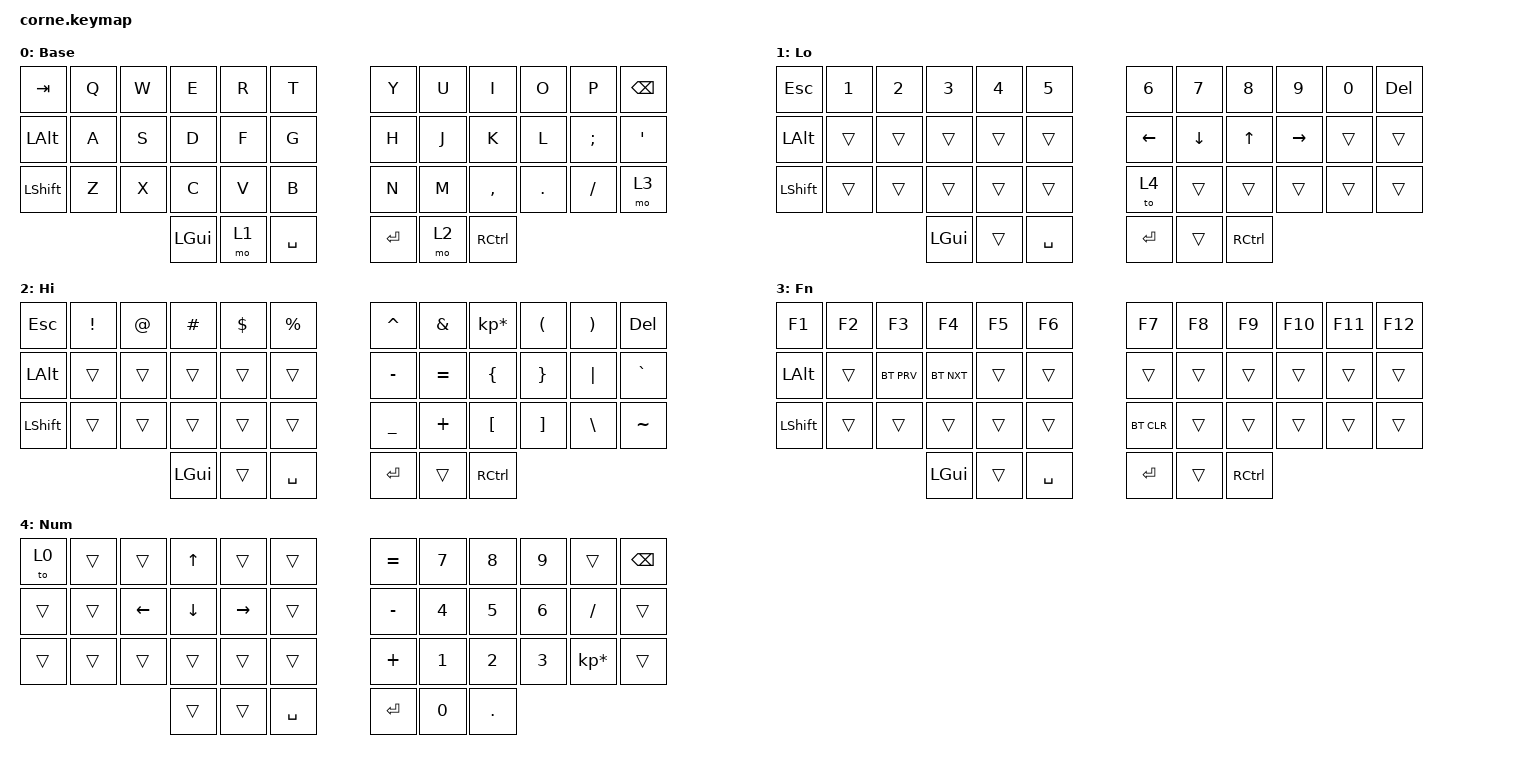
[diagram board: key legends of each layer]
/*
 * Copyright (c) 2020 The ZMK Contributors
 *
 * SPDX-License-Identifier: MIT
 */

#include <behaviors.dtsi>
#include <dt-bindings/zmk/keys.h>
#include <dt-bindings/zmk/bt.h>

/ {
    macros {
    };

    keymap {
        compatible = "zmk,keymap";

        base_layer {
            // -----------------------------------------------------------------------------------------
            // |  TAB |  Q  |  W  |  E  |  R  |  T  |   |  Y  |  U  |  I  |  O  |  P  | BKSP |
            // |  OPT |  A  |  S  |  D  |  F  |  G  |   |  H  |  J  |  K  |  L  |  ;  |  '   |
            // | SHFT |  Z  |  X  |  C  |  V  |  B  |   |  N  |  M  |  ,  |  .  |  /  | FUNC |
            //                    | CMD | LWR | SPC |   | ENT | RSE | CTRL |

            label = "Base";
            bindings = <
     &kp TAB  &kp Q  &kp W     &kp E  &kp R      &kp T      &kp Y    &kp U  &kp I      &kp O    &kp P     &kp BSPC
&kp LEFT_ALT  &kp A  &kp S     &kp D  &kp F      &kp G      &kp H    &kp J  &kp K      &kp L    &kp SEMI  &kp APOS
   &kp LSHFT  &kp Z  &kp X     &kp C  &kp V      &kp B      &kp N    &kp M  &kp COMMA  &kp DOT  &kp FSLH  &mo 3
                            &kp LGUI  &mo 1  &kp SPACE      &kp RET  &mo 2  &kp RCTRL
            >;
        };

        lower_layer {
            // -----------------------------------------------------------------------------------------
            // |  ESC |  1  |  2  |  3  |  4  |  5  |   |   6   |  7  |  8   |  9  |  0  | DEL |
            // |  OPT |     |     |     |     |     |   |  LFT  | DWN |  UP  | RGT |     |     |
            // | SHFT |     |     |     |     |     |   | NUMPD |     |      |     |     |     |
            //                    | CMD |     | SPC |   |  ENT  |     | CTRL |

            label = "Lo";
            bindings = <
     &kp ESC  &kp N1  &kp N2    &kp N3  &kp N4     &kp N5      &kp N6    &kp N7    &kp N8     &kp N9     &kp N0  &kp DEL
&kp LEFT_ALT  &trans  &trans    &trans  &trans     &trans      &kp LEFT  &kp DOWN  &kp UP     &kp RIGHT  &trans  &trans
   &kp LSHFT  &trans  &trans    &trans  &trans     &trans      &to 4     &trans    &trans     &trans     &trans  &trans
                              &kp LGUI  &trans  &kp SPACE      &kp RET   &trans    &kp RCTRL
            >;
        };

        raise_layer {
            // -----------------------------------------------------------------------------------------
            // |  ESC |  !  |  @  |  #  |  $  |  %  |   |  ^  |  &  |  *   |  (  |  )  | DEL |
            // |  OPT |     |     |     |     |     |   |  -  |  =  |  {   |  }  | "|" |  `  |
            // | SHFT |     |     |     |     |     |   |  _  |  +  |  [   |  ]  |  \  |  ~  |
            //                    | CMD |     | SPC |   | ENT |     | CTRL |

            label = "Hi";
            bindings = <
     &kp ESC  &kp EXCL  &kp AT  &kp HASH  &kp DLLR  &kp PRCNT      &kp CARET  &kp AMPS   &kp KP_MULTIPLY  &kp LPAR  &kp RPAR  &kp DEL
&kp LEFT_ALT    &trans  &trans    &trans    &trans     &trans      &kp MINUS  &kp EQUAL  &kp LBRC         &kp RBRC  &kp PIPE  &kp GRAVE
   &kp LSHFT    &trans  &trans    &trans    &trans     &trans      &kp UNDER  &kp PLUS   &kp LBKT         &kp RBKT  &kp BSLH  &kp TILDE
                                &kp LGUI    &trans  &kp SPACE      &kp RET    &trans     &kp RCTRL
            >;
        };

        function_layer {
            // -----------------------------------------------------------------------------------------
            // |  F1  |  F2  |   F3  |   F4  |  F5  |  F6  |   |   F7  |  F8  |  F9  |  F10  |  F11 |  F12 |
            // |  OPT |      | BTPRV | BTNXT |      |      |   |       |      |      |       |      |      |
            // | SHFT |      |       |       |      |      |   | BTCLR |      |      |       |      |      |
            //                       |  CMD  |      |  SPC |   |  ENT  |      | CTRL |

            label = "Fn";
            bindings = <
      &kp F1  &kp F2      &kp F3      &kp F4  &kp F5     &kp F6      &kp F7      &kp F8  &kp F9     &kp F10  &kp F11  &kp F12
&kp LEFT_ALT  &trans  &bt BT_PRV  &bt BT_NXT  &trans     &trans      &trans      &trans  &trans     &trans   &trans   &trans
   &kp LSHFT  &trans      &trans      &trans  &trans     &trans      &bt BT_CLR  &trans  &trans     &trans   &trans   &trans
                                    &kp LGUI  &trans  &kp SPACE      &kp RET     &trans  &kp RCTRL
            >;
        };

        numpad_layer {
            // -----------------------------------------------------------------------------------------
            // | BASE |     |     |  UP |     |     |   |  =  |  7  |  8  |  9  |     | BKSP |
            // |      |     | LFT | DWN | RGT |     |   |  -  |  4  |  5  |  6  |  /  |      |
            // |      |     |     |     |     |     |   |  +  |  1  |  2  |  3  |  *  |      |
            //                    |     |     | SPC |   | ENT |  0  |  .  |                

            label = "Num";
            bindings = <
 &to 0  &trans    &trans    &kp UP     &trans     &trans      &kp EQUAL  &kp N7  &kp N8   &kp N9  &trans           &kp BSPC
&trans  &trans  &kp LEFT  &kp DOWN  &kp RIGHT     &trans      &kp MINUS  &kp N4  &kp N5   &kp N6  &kp FSLH         &trans
&trans  &trans    &trans    &trans     &trans     &trans      &kp PLUS   &kp N1  &kp N2   &kp N3  &kp KP_MULTIPLY  &trans
                            &trans     &trans  &kp SPACE      &kp RET    &kp N0  &kp DOT
            >;
        };
    };
};
